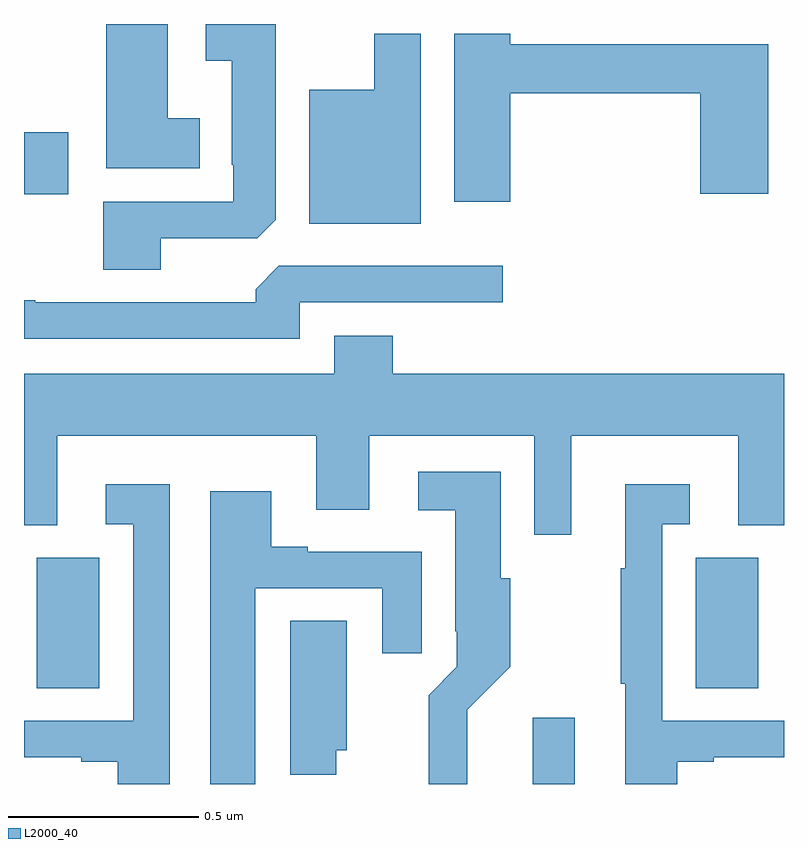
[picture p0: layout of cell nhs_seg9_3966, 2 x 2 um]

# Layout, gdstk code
import gdstk
lib = gdstk.Library(unit=1e-6, precision=1e-09)
def R(c, l, rs):  # rectangles x0, y0, x1, y1
    for r in rs: c.add(gdstk.rectangle(r[:2], r[2:], *l))
def P(c, l, *ps):  # polygons
    for p in ps: c.add(gdstk.Polygon(p, *l))
L2000_40 = (2000, 40)

nhs_seg9_3966 = lib.new_cell('nhs_seg9_3966')
R(nhs_seg9_3966, L2000_40, [(161.339,1199.5,161.449,1199.674), (160.034,1199.752,160.198,1200.096), (161.768,1199.752,161.932,1200.096), (160,1201.052,160.117,1201.215)])
P(nhs_seg9_3966, L2000_40, [(160.462,1201.252),(160.378,1201.252),(160.378,1201.5),(160.217,1201.5),(160.217,1201.121),(160.462,1201.121)],
  [(160.36,1200.936),(160.614,1200.936),(160.663,1200.985),(160.663,1201.5),(160.478,1201.5),(160.478,1201.403),(160.547,1201.403),(160.547,1201.129),(160.551,1201.129),(160.551,1201.032),(160.208,1201.032),(160.208,1200.853),(160.36,1200.853)],
  [(161.044,1201.474),(160.922,1201.474),(160.922,1201.327),(160.751,1201.327),(160.751,1200.974),(161.044,1200.974)],
  [(161.279,1201.318),(161.78,1201.318),(161.78,1201.053),(161.958,1201.053),(161.958,1201.447),(161.279,1201.447),(161.279,1201.474),(161.132,1201.474),(161.132,1201.032),(161.279,1201.032)],
  [(160.725,1200.768),(161.26,1200.768),(161.26,1200.864),(160.671,1200.864),(160.61,1200.802),(160.61,1200.768),(160.03,1200.768),(160.03,1200.773),(160,1200.773),(160,1200.672),(160.725,1200.672)],
  [(160.97,1200.679),(160.817,1200.679),(160.817,1200.58),(160,1200.58),(160,1200.181),(160.087,1200.181),(160.087,1200.416),(160.769,1200.416),(160.769,1200.222),(160.909,1200.222),(160.909,1200.416),(161.343,1200.416),(161.343,1200.156),(161.44,1200.156),(161.44,1200.416),(161.879,1200.416),(161.879,1200.181),(162,1200.181),(162,1200.58),(160.97,1200.58)],
  [(161.167,1199.696),(161.28,1199.809),(161.28,1200.042),(161.254,1200.042),(161.254,1200.322),(161.037,1200.322),(161.037,1200.221),(161.135,1200.221),(161.135,1199.902),(161.139,1199.902),(161.139,1199.808),(161.065,1199.734),(161.065,1199.5),(161.167,1199.5)],
  [(160.383,1200.289),(160.215,1200.289),(160.215,1200.183),(160.287,1200.183),(160.287,1199.667),(160,1199.667),(160,1199.571),(160.151,1199.571),(160.151,1199.559),(160.247,1199.559),(160.247,1199.5),(160.383,1199.5)],
  [(161.719,1199.559),(161.815,1199.559),(161.815,1199.571),(162,1199.571),(162,1199.667),(161.679,1199.667),(161.679,1200.183),(161.752,1200.183),(161.752,1200.289),(161.582,1200.289),(161.582,1200.068),(161.571,1200.068),(161.571,1199.764),(161.582,1199.764),(161.582,1199.5),(161.719,1199.5)],
  [(160.609,1200.015),(160.943,1200.015),(160.943,1199.844),(161.047,1199.844),(161.047,1200.111),(160.747,1200.111),(160.747,1200.124),(160.651,1200.124),(160.651,1200.271),(160.49,1200.271),(160.49,1199.5),(160.609,1199.5)],
  [(160.822,1199.589),(160.849,1199.589),(160.849,1199.93),(160.7,1199.93),(160.7,1199.525),(160.822,1199.525)])

lib.write_gds('nhs_seg9_3966.gds')
